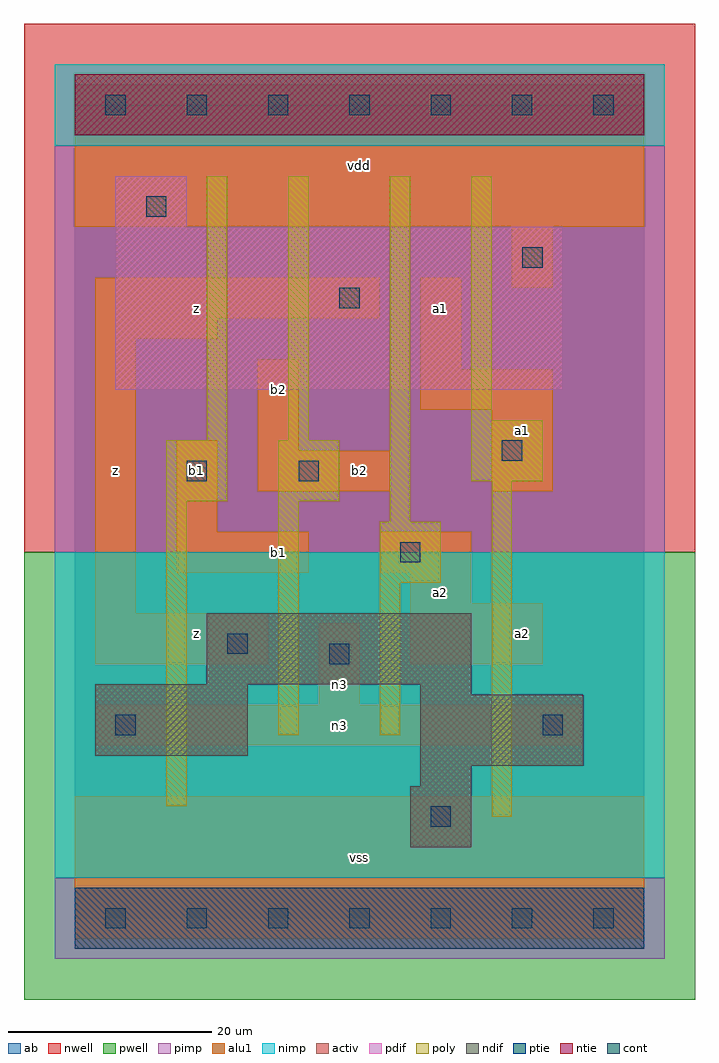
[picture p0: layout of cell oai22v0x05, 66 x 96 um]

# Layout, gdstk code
import gdstk
lib = gdstk.Library(unit=1e-6, precision=1e-09)
def R(c, l, rs):  # rectangles x0, y0, x1, y1
    for r in rs: c.add(gdstk.rectangle(r[:2], r[2:], *l))
def A(c, l, x, y, w, h, nx, ny, dx, dy):  # array of equal rectangles
    R(c, l, [(x+i*dx, y+j*dy, x+i*dx+w, y+j*dy+h) for i in range(nx) for j in range(ny)])
ndif = (3, 0)
pdif = (4, 0)
ntie = (5, 0)
ptie = (6, 0)
cont = (25, 0)
pwell = (41, 0)
nwell = (42, 0)
activ = (43, 0)
pimp = (44, 0)
nimp = (45, 0)
poly = (46, 0)
alu1 = (49, 0)
ab = (63, 0)

oai22v0x05 = lib.new_cell('oai22v0x05')
R(oai22v0x05, ndif, [(33,7,39,13), (34,13,39,15), (34,15,50,22), (2,16,17,23), (34,22,39,23), (13,23,39,30)])
R(oai22v0x05, pdif, [(4,52,48,68), (4,68,11,73)])
R(oai22v0x05, ntie, [(0,77,56,83)])
R(oai22v0x05, ptie, [(0,-3,56,3)])
A(oai22v0x05, cont, 3, -1, 2, 2, 7, 2, 8, 80)
R(oai22v0x05, cont, [(35,9,37,11), (4,18,6,20), (46,18,48,20), (25,25,27,27), (15,26,17,28), (32,35,34,37), (11,43,13,45), (22,43,24,45), (42,45,44,47), (26,60,28,62), (44,64,46,66), (7,69,9,71)])
R(oai22v0x05, pwell, [(-5,-8,61,36)])
R(oai22v0x05, nwell, [(-5,36,61,88)])
R(oai22v0x05, activ, [(0,-3,56,3), (33,7,39,13), (34,13,39,15), (34,15,50,22), (2,16,17,23), (34,22,39,23), (13,23,39,30), (4,52,48,68), (4,68,11,73), (0,77,56,83)])
R(oai22v0x05, pimp, [(-2,-4,58,4), (-2,36,58,76)])
R(oai22v0x05, nimp, [(-2,4,58,36), (-2,76,58,84)])
R(oai22v0x05, poly, [(41,10,43,43), (9,11,11,41), (20,18,22,41), (30,18,32,33), (30,33,36,39), (31,39,33,73), (9,41,15,47), (20,41,26,47), (39,43,46,49), (13,47,15,73), (21,47,23,73), (39,49,41,73)])
R(oai22v0x05, alu1, [(0,-2,56,12), (2,17,50,21), (24,21,28,29), (2,25,19,30), (33,25,46,31), (2,30,6,57), (33,31,39,34), (10,34,23,38), (30,34,39,38), (10,38,14,47), (18,42,31,46), (41,42,47,50), (18,46,22,55), (34,50,47,54), (34,54,38,63), (2,57,14,59), (2,59,30,63), (43,62,47,68), (0,68,56,82)])
R(oai22v0x05, ab, [(0,0,56,80)])
oai22v0x05.add(gdstk.Label('n3', (26,23), layer=49, texttype=0))
oai22v0x05.add(gdstk.Label('n3', (26,19), layer=49, texttype=0))
oai22v0x05.add(gdstk.Label('z', (4,44), layer=49, texttype=0))
oai22v0x05.add(gdstk.Label('z', (12,28), layer=49, texttype=0))
oai22v0x05.add(gdstk.Label('b1', (20,36), layer=49, texttype=0))
oai22v0x05.add(gdstk.Label('b1', (12,44), layer=49, texttype=0))
oai22v0x05.add(gdstk.Label('b2', (20,52), layer=49, texttype=0))
oai22v0x05.add(gdstk.Label('z', (12,60), layer=49, texttype=0))
oai22v0x05.add(gdstk.Label('vss', (28,6), layer=49, texttype=0))
oai22v0x05.add(gdstk.Label('a2', (36,32), layer=49, texttype=0))
oai22v0x05.add(gdstk.Label('b2', (28,44), layer=49, texttype=0))
oai22v0x05.add(gdstk.Label('a1', (36,60), layer=49, texttype=0))
oai22v0x05.add(gdstk.Label('vdd', (28,74), layer=49, texttype=0))
oai22v0x05.add(gdstk.Label('a2', (44,28), layer=49, texttype=0))
oai22v0x05.add(gdstk.Label('a1', (44,48), layer=49, texttype=0))

lib.write_gds('oai22v0x05.gds')
